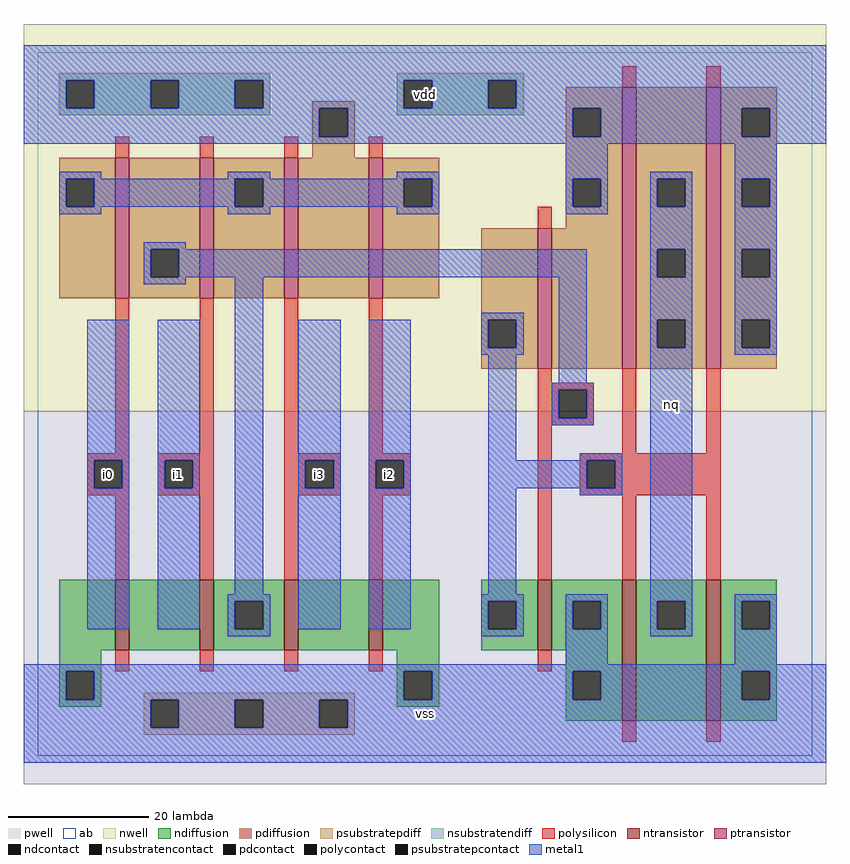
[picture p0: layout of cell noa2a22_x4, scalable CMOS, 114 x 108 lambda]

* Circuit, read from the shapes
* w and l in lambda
.subckt noa2a22_x4 i0 i1 i2 i3 nq vdd vss
M1 n1 i0 vss vss nfet w=10 l=2
M2 n2 i1 n1 vss nfet w=10 l=2
M3 n3 i3 n2 vss nfet w=10 l=2
M4 vss i2 n3 vss nfet w=10 l=2
M5 vss n2 n4 vss nfet w=10 l=2
M6 nq n4 vss vss nfet w=20 l=2 m=2
M7 n2 i0 n5 vdd pfet w=20 l=2
M8 n5 i1 n2 vdd pfet w=20 l=2
M9 vdd i3 n5 vdd pfet w=20 l=2
M10 n5 i2 vdd vdd pfet w=20 l=2
M11 vdd n2 n4 vdd pfet w=20 l=2
M12 nq n4 vdd vdd pfet w=40 l=2 m=2
.ends

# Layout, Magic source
magic
tech scmos
<< ab >>
rect 0 0 110 100
<< pwell >>
rect -2 -4 112 49
<< nwell >>
rect -2 49 112 104
<< polysilicon >>
rect 83 95 85 98
rect 95 95 97 98
rect 11 85 13 88
rect 23 85 25 88
rect 35 85 37 88
rect 47 85 49 88
rect 71 75 73 78
rect 11 43 13 65
rect 23 43 25 65
rect 7 42 13 43
rect 7 38 8 42
rect 12 38 13 42
rect 7 37 13 38
rect 17 42 25 43
rect 17 38 18 42
rect 22 38 25 42
rect 17 37 25 38
rect 11 25 13 37
rect 23 25 25 37
rect 35 43 37 65
rect 47 43 49 65
rect 71 53 73 55
rect 71 52 79 53
rect 71 48 74 52
rect 78 48 79 52
rect 71 47 79 48
rect 35 42 43 43
rect 35 38 38 42
rect 42 38 43 42
rect 35 37 43 38
rect 47 42 53 43
rect 47 38 48 42
rect 52 38 53 42
rect 47 37 53 38
rect 35 25 37 37
rect 47 25 49 37
rect 71 25 73 47
rect 83 43 85 55
rect 95 43 97 55
rect 77 42 97 43
rect 77 38 78 42
rect 82 38 97 42
rect 77 37 97 38
rect 83 25 85 37
rect 95 25 97 37
rect 11 12 13 15
rect 23 12 25 15
rect 35 12 37 15
rect 47 12 49 15
rect 71 12 73 15
rect 83 2 85 5
rect 95 2 97 5
<< ndiffusion >>
rect 3 15 11 25
rect 13 15 23 25
rect 25 22 35 25
rect 25 18 28 22
rect 32 18 35 22
rect 25 15 35 18
rect 37 15 47 25
rect 49 15 57 25
rect 63 22 71 25
rect 63 18 64 22
rect 68 18 71 22
rect 63 15 71 18
rect 73 22 83 25
rect 73 18 76 22
rect 80 18 83 22
rect 73 15 83 18
rect 3 12 9 15
rect 51 12 57 15
rect 75 12 83 15
rect 3 8 4 12
rect 8 8 9 12
rect 3 7 9 8
rect 51 8 52 12
rect 56 8 57 12
rect 51 7 57 8
rect 75 8 76 12
rect 80 8 83 12
rect 75 5 83 8
rect 85 22 95 25
rect 85 18 88 22
rect 92 18 95 22
rect 85 5 95 18
rect 97 22 105 25
rect 97 18 100 22
rect 104 18 105 22
rect 97 12 105 18
rect 97 8 100 12
rect 104 8 105 12
rect 97 5 105 8
<< pdiffusion >>
rect 39 92 45 93
rect 39 88 40 92
rect 44 88 45 92
rect 75 92 83 95
rect 75 88 76 92
rect 80 88 83 92
rect 39 85 45 88
rect 3 82 11 85
rect 3 78 4 82
rect 8 78 11 82
rect 3 65 11 78
rect 13 72 23 85
rect 13 68 16 72
rect 20 68 23 72
rect 13 65 23 68
rect 25 82 35 85
rect 25 78 28 82
rect 32 78 35 82
rect 25 65 35 78
rect 37 65 47 85
rect 49 82 57 85
rect 49 78 52 82
rect 56 78 57 82
rect 75 82 83 88
rect 75 78 76 82
rect 80 78 83 82
rect 49 65 57 78
rect 75 75 83 78
rect 63 62 71 75
rect 63 58 64 62
rect 68 58 71 62
rect 63 55 71 58
rect 73 55 83 75
rect 85 82 95 95
rect 85 78 88 82
rect 92 78 95 82
rect 85 72 95 78
rect 85 68 88 72
rect 92 68 95 72
rect 85 62 95 68
rect 85 58 88 62
rect 92 58 95 62
rect 85 55 95 58
rect 97 92 105 95
rect 97 88 100 92
rect 104 88 105 92
rect 97 82 105 88
rect 97 78 100 82
rect 104 78 105 82
rect 97 72 105 78
rect 97 68 100 72
rect 104 68 105 72
rect 97 62 105 68
rect 97 58 100 62
rect 104 58 105 62
rect 97 55 105 58
<< metal1 >>
rect -2 96 112 101
rect -2 92 4 96
rect 8 92 16 96
rect 20 92 28 96
rect 32 92 52 96
rect 56 92 64 96
rect 68 92 112 96
rect -2 88 40 92
rect 44 88 76 92
rect 80 88 100 92
rect 104 88 112 92
rect -2 87 112 88
rect 3 82 9 83
rect 27 82 33 83
rect 51 82 57 83
rect 3 78 4 82
rect 8 78 28 82
rect 32 78 52 82
rect 56 78 57 82
rect 3 77 9 78
rect 27 77 33 78
rect 51 77 57 78
rect 75 82 81 87
rect 75 78 76 82
rect 80 78 81 82
rect 75 77 81 78
rect 87 82 93 83
rect 87 78 88 82
rect 92 78 93 82
rect 15 72 21 73
rect 87 72 93 78
rect 15 68 16 72
rect 20 68 78 72
rect 15 67 21 68
rect 7 42 13 62
rect 7 38 8 42
rect 12 38 13 42
rect 7 18 13 38
rect 17 42 23 62
rect 17 38 18 42
rect 22 38 23 42
rect 17 18 23 38
rect 28 23 32 68
rect 63 62 69 63
rect 37 42 43 62
rect 37 38 38 42
rect 42 38 43 42
rect 27 22 33 23
rect 27 18 28 22
rect 32 18 33 22
rect 37 18 43 38
rect 47 42 53 62
rect 63 58 64 62
rect 68 58 69 62
rect 63 57 69 58
rect 47 38 48 42
rect 52 38 53 42
rect 47 18 53 38
rect 64 42 68 57
rect 74 53 78 68
rect 87 68 88 72
rect 92 68 93 72
rect 87 62 93 68
rect 87 58 88 62
rect 92 58 93 62
rect 73 52 79 53
rect 73 48 74 52
rect 78 48 79 52
rect 73 47 79 48
rect 77 42 83 43
rect 64 38 78 42
rect 82 38 83 42
rect 64 23 68 38
rect 77 37 83 38
rect 63 22 69 23
rect 63 18 64 22
rect 68 18 69 22
rect 27 17 33 18
rect 63 17 69 18
rect 75 22 81 23
rect 75 18 76 22
rect 80 18 81 22
rect 75 13 81 18
rect 87 22 93 58
rect 99 82 105 87
rect 99 78 100 82
rect 104 78 105 82
rect 99 72 105 78
rect 99 68 100 72
rect 104 68 105 72
rect 99 62 105 68
rect 99 58 100 62
rect 104 58 105 62
rect 99 57 105 58
rect 87 18 88 22
rect 92 18 93 22
rect 87 17 93 18
rect 99 22 105 23
rect 99 18 100 22
rect 104 18 105 22
rect 99 13 105 18
rect -2 12 112 13
rect -2 8 4 12
rect 8 8 52 12
rect 56 8 76 12
rect 80 8 100 12
rect 104 8 112 12
rect -2 4 16 8
rect 20 4 28 8
rect 32 4 40 8
rect 44 4 112 8
rect -2 -1 112 4
<< ntransistor >>
rect 11 15 13 25
rect 23 15 25 25
rect 35 15 37 25
rect 47 15 49 25
rect 71 15 73 25
rect 83 5 85 25
rect 95 5 97 25
<< ptransistor >>
rect 11 65 13 85
rect 23 65 25 85
rect 35 65 37 85
rect 47 65 49 85
rect 71 55 73 75
rect 83 55 85 95
rect 95 55 97 95
<< polycontact >>
rect 8 38 12 42
rect 18 38 22 42
rect 74 48 78 52
rect 38 38 42 42
rect 48 38 52 42
rect 78 38 82 42
<< ndcontact >>
rect 28 18 32 22
rect 64 18 68 22
rect 76 18 80 22
rect 4 8 8 12
rect 52 8 56 12
rect 76 8 80 12
rect 88 18 92 22
rect 100 18 104 22
rect 100 8 104 12
<< pdcontact >>
rect 40 88 44 92
rect 76 88 80 92
rect 4 78 8 82
rect 16 68 20 72
rect 28 78 32 82
rect 52 78 56 82
rect 76 78 80 82
rect 64 58 68 62
rect 88 78 92 82
rect 88 68 92 72
rect 88 58 92 62
rect 100 88 104 92
rect 100 78 104 82
rect 100 68 104 72
rect 100 58 104 62
<< psubstratepcontact >>
rect 16 4 20 8
rect 28 4 32 8
rect 40 4 44 8
<< nsubstratencontact >>
rect 4 92 8 96
rect 16 92 20 96
rect 28 92 32 96
rect 52 92 56 96
rect 64 92 68 96
<< psubstratepdiff >>
rect 15 8 45 9
rect 15 4 16 8
rect 20 4 28 8
rect 32 4 40 8
rect 44 4 45 8
rect 15 3 45 4
<< nsubstratendiff >>
rect 3 96 33 97
rect 3 92 4 96
rect 8 92 16 96
rect 20 92 28 96
rect 32 92 33 96
rect 51 96 69 97
rect 3 91 33 92
rect 51 92 52 96
rect 56 92 64 96
rect 68 92 69 96
rect 51 91 69 92
<< labels >>
rlabel polycontact 20 40 20 40 6 i1
rlabel polycontact 10 40 10 40 6 i0
rlabel polycontact 20 40 20 40 6 i1
rlabel polycontact 10 40 10 40 6 i0
rlabel polycontact 50 40 50 40 6 i2
rlabel polycontact 40 40 40 40 6 i3
rlabel polycontact 40 40 40 40 6 i3
rlabel polycontact 50 40 50 40 6 i2
rlabel metal1 55 6 55 6 6 vss
rlabel metal1 55 6 55 6 6 vss
rlabel nsubstratencontact 55 94 55 94 6 vdd
rlabel nsubstratencontact 55 94 55 94 6 vdd
rlabel metal1 90 50 90 50 6 nq
rlabel metal1 90 50 90 50 6 nq
<< end >>
